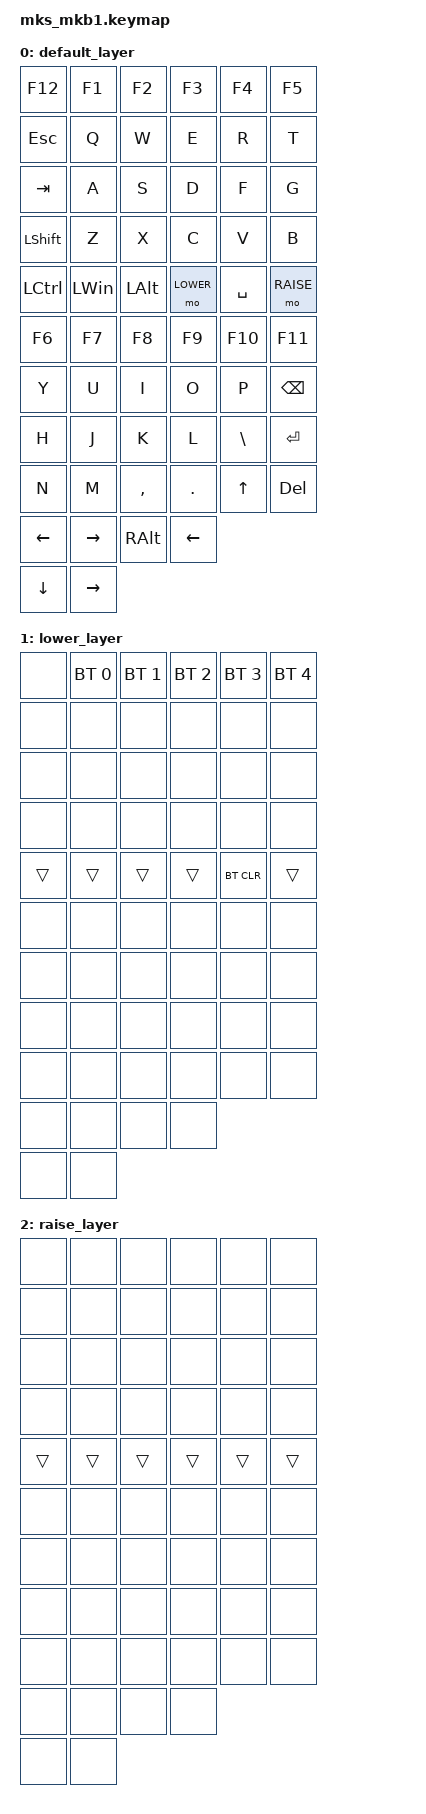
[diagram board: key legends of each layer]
#include <behaviors.dtsi>
#include <dt-bindings/zmk/keys.h>
#include <dt-bindings/zmk/bt.h>

/* レイヤー定義 */
#define BASE 0
#define LOWER 1
#define RAISE 2

/ {
    keymap {
        compatible = "zmk,keymap";

        /*
         * BASE レイヤー (0)
         * 前段階で定義した matrix_transform の map 順（左手30キー -> 右手30キー）に完全一致させています。
         */
        default_layer {
            bindings = <
                /* ================== 左手側 (SW1 〜 SW30) ================== */
                &kp F12   &kp F1   &kp F2   &kp F3    &kp F4   &kp F5 
                &kp ESC   &kp Q    &kp W    &kp E     &kp R    &kp T  
                &kp TAB   &kp A    &kp S    &kp D     &kp F    &kp G  
                &kp LSHFT &kp Z    &kp X    &kp C     &kp V    &kp B  
                &kp LCTRL &kp LWIN &kp LALT &mo LOWER &kp SPACE &mo RAISE

                /* ================== 右手側 (SW31 〜 SW60) ================== */
                &kp F6   &kp F7   &kp F8   &kp F9   &kp F10  &kp F11
                &kp Y    &kp U    &kp I    &kp O    &kp P    &kp BSPC
                &kp H    &kp J    &kp K    &kp L    &kp BSLH &kp ENTER
                &kp N    &kp M    &kp COMMA &kp DOT &kp UP   &kp DEL
                /* 特殊位置（COL6 / COL7 に配置されたキー） */
                &kp LEFT  &kp RIGHT &kp RALT &kp LEFT
                &kp DOWN  &kp RIGHT
            >;
        };

        /*
         * LOWER レイヤー (1)
         * 左手の最下段内側のキー(mo LOWER)を押している間の設定。
         * ここに Bluetooth の端末切替（5端末分）をアサインしています。
         */
        lower_layer {
            bindings = <
                /* ================== 左手側 ================== */
                &none        &bt BT_SEL 0 &bt BT_SEL 1 &bt BT_SEL 2 &bt BT_SEL 3 &bt BT_SEL 4
                &none        &none        &none        &none        &none        &none        
                &none        &none        &none        &none        &none        &none        
                &none        &none        &none        &none        &none        &none        
                &trans       &trans       &trans       &trans
                &bt BT_CLR   &trans

                /* ================== 右手側 ================== */
                &none        &none        &none        &none        &none        &none        
                &none        &none        &none        &none        &none        &none        
                &none        &none        &none        &none        &none        &none        
                &none        &none        &none        &none        &none        &none        
                &none        &none        &none        &none        
                &none        &none        
            >;
        };

        /*
         * RAISE レイヤー (2)
         * 必要に応じてキーを追加してください（現在はすべて透過・無効に設定）
         */
        raise_layer {
            bindings = <
                /* ================== 左手側 ================== */
                &none        &none        &none        &none        &none        &none        
                &none        &none        &none        &none        &none        &none        
                &none        &none        &none        &none        &none        &none        
                &none        &none        &none        &none        &none        &none        
                &trans       &trans       &trans       &trans
                &trans       &trans

                /* ================== 右手側 ================== */
                &none        &none        &none        &none        &none        &none        
                &none        &none        &none        &none        &none        &none        
                &none        &none        &none        &none        &none        &none        
                &none        &none        &none        &none        &none        &none        
                &none        &none        &none        &none        
                &none        &none        
            >;
        };
    };
};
